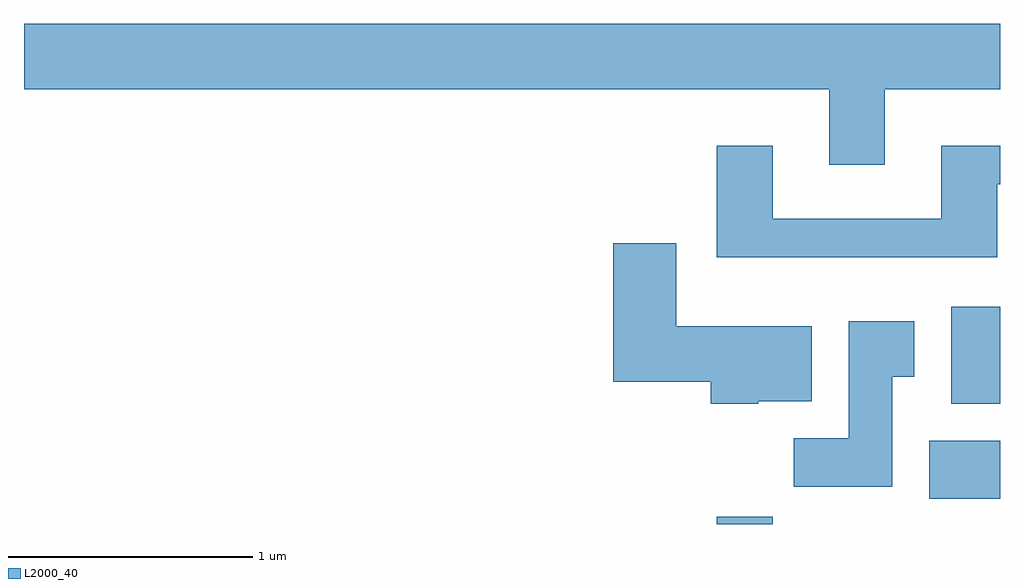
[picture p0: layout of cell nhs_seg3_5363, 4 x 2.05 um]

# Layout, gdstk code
import gdstk
lib = gdstk.Library(unit=1e-6, precision=1e-09)
def R(c, l, rs):  # rectangles x0, y0, x1, y1
    for r in rs: c.add(gdstk.rectangle(r[:2], r[2:], *l))
def P(c, l, *ps):  # polygons
    for p in ps: c.add(gdstk.Polygon(p, *l))
L2000_40 = (2000, 40)

nhs_seg3_5363 = lib.new_cell('nhs_seg3_5363')
R(nhs_seg3_5363, L2000_40, [(344.451,1241.892,344.679,1241.924), (345.321,1241.996,345.611,1242.234), (345.411,1242.386,345.611,1242.784)])
P(nhs_seg3_5363, L2000_40, [(345.139,1243.676),(345.611,1243.676),(345.611,1243.944),(341.611,1243.944),(341.611,1243.676),(344.911,1243.676),(344.911,1243.366),(345.139,1243.366)],
  [(345.599,1243.286),(345.611,1243.286),(345.611,1243.444),(345.371,1243.444),(345.371,1243.144),(344.679,1243.144),(344.679,1243.444),(344.451,1243.444),(344.451,1242.986),(345.599,1242.986)],
  [(344.62,1242.396),(344.839,1242.396),(344.839,1242.704),(344.284,1242.704),(344.284,1243.044),(344.026,1243.044),(344.026,1242.476),(344.426,1242.476),(344.426,1242.386),(344.62,1242.386)],
  [(345.169,1242.496),(345.259,1242.496),(345.259,1242.724),(344.991,1242.724),(344.991,1242.244),(344.766,1242.244),(344.766,1242.046),(345.169,1242.046)])

lib.write_gds('nhs_seg3_5363.gds')
